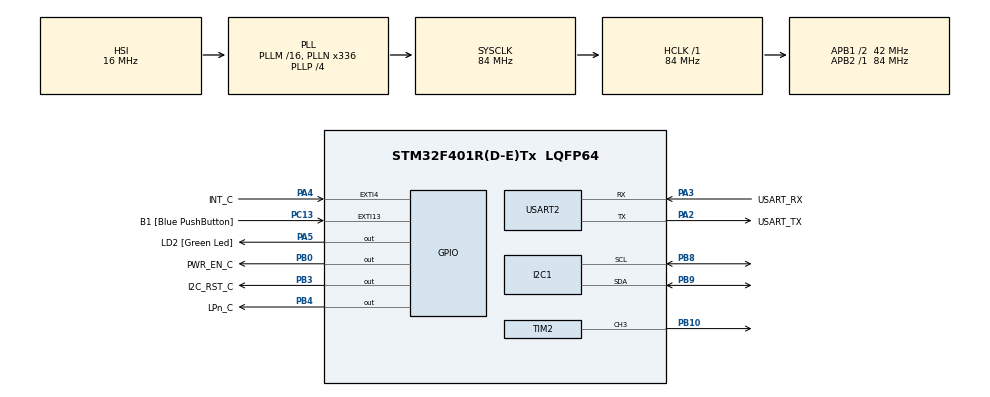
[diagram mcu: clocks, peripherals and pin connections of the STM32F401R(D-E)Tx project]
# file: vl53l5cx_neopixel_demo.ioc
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Dma.Request0=TIM2_CH3/UP
Dma.TIM2_CH3/UP.0.Direction=DMA_MEMORY_TO_PERIPH
Dma.TIM2_CH3/UP.0.FIFOMode=DMA_FIFOMODE_DISABLE
Dma.TIM2_CH3/UP.0.Instance=DMA1_Stream1
Dma.TIM2_CH3/UP.0.MemDataAlignment=DMA_MDATAALIGN_WORD
Dma.TIM2_CH3/UP.0.MemInc=DMA_MINC_ENABLE
Dma.TIM2_CH3/UP.0.Mode=DMA_NORMAL
Dma.TIM2_CH3/UP.0.PeriphDataAlignment=DMA_PDATAALIGN_WORD
Dma.TIM2_CH3/UP.0.PeriphInc=DMA_PINC_DISABLE
Dma.TIM2_CH3/UP.0.Priority=DMA_PRIORITY_VERY_HIGH
I2C1.I2C_Mode=I2C_Fast
Mcu.Family=STM32F4
Mcu.Name=STM32F401R(D-E)Tx
Mcu.Package=LQFP64
NVIC.DMA1_Stream1_IRQn=true\:0\:0\:false\:false\:true\:false\:true\:true
NVIC.EXTI4_IRQn=true\:0\:0\:false\:false\:true\:true\:true\:true
NVIC.PriorityGroup=NVIC_PRIORITYGROUP_0
PA13.GPIO_Label=TMS
PA13.Mode=Serial_Wire
PA13.Signal=SYS_JTMS-SWDIO
PA14.GPIO_Label=TCK
PA14.Mode=Serial_Wire
PA14.Signal=SYS_JTCK-SWCLK
PA2.GPIO_Label=USART_TX
PA2.GPIO_Mode=GPIO_MODE_AF_PP
PA2.GPIO_PuPd=GPIO_NOPULL
PA2.GPIO_Speed=GPIO_SPEED_FREQ_LOW
PA2.Mode=Asynchronous
PA2.Signal=USART2_TX
PA3.GPIO_Label=USART_RX
PA3.GPIO_Mode=GPIO_MODE_AF_PP
PA3.GPIO_PuPd=GPIO_NOPULL
PA3.GPIO_Speed=GPIO_SPEED_FREQ_LOW
PA3.Mode=Asynchronous
PA3.Signal=USART2_RX
PA4.GPIO_Label=INT_C
PA4.GPIO_ModeDefaultEXTI=GPIO_MODE_IT_FALLING
PA4.Signal=GPXTI4
PA5.GPIO_Label=LD2 [Green Led]
PA5.GPIO_Mode=GPIO_MODE_OUTPUT_PP
PA5.GPIO_PuPd=GPIO_NOPULL
PA5.GPIO_Speed=GPIO_SPEED_FREQ_LOW
PA5.Signal=GPIO_Output
PB0.GPIO_Label=PWR_EN_C
PB0.PinState=GPIO_PIN_SET
PB0.Signal=GPIO_Output
PB10.Signal=S_TIM2_CH3
PB3.GPIO_Label=I2C_RST_C
PB3.Signal=GPIO_Output
PB4.GPIO_Label=LPn_C
PB4.PinState=GPIO_PIN_SET
PB4.Signal=GPIO_Output
PB8.Mode=I2C
PB8.Signal=I2C1_SCL
PB9.Mode=I2C
PB9.Signal=I2C1_SDA
PC13-ANTI_TAMP.GPIO_Label=B1 [Blue PushButton]
PC13-ANTI_TAMP.GPIO_ModeDefaultEXTI=GPIO_MODE_IT_FALLING
PC13-ANTI_TAMP.GPIO_PuPd=GPIO_NOPULL
PC13-ANTI_TAMP.Signal=GPXTI13
PC14-OSC32_IN.Mode=LSE-External-Oscillator
PC14-OSC32_IN.Signal=RCC_OSC32_IN
PC15-OSC32_OUT.Mode=LSE-External-Oscillator
PC15-OSC32_OUT.Signal=RCC_OSC32_OUT
PH0\ -\ OSC_IN.Mode=HSE-External-Clock-Source
PH0\ -\ OSC_IN.Signal=RCC_OSC_IN
PH1\ -\ OSC_OUT.Mode=HSE-External-Clock-Source
PH1\ -\ OSC_OUT.Signal=RCC_OSC_OUT
ProjectManager.HeapSize=0x200
ProjectManager.StackSize=0x400
ProjectManager.TargetToolchain=STM32CubeIDE
RCC.48MHZClocksFreq_Value=48000000
RCC.AHBFreq_Value=84000000
RCC.APB1CLKDivider=RCC_HCLK_DIV2
RCC.APB1Freq_Value=42000000
RCC.APB1TimFreq_Value=84000000
RCC.APB2Freq_Value=84000000
RCC.APB2TimFreq_Value=84000000
RCC.CortexFreq_Value=84000000
RCC.HCLKFreq_Value=84000000
RCC.HSE_VALUE=8000000
RCC.HSI_VALUE=16000000
RCC.PLLN=336
RCC.PLLP=RCC_PLLP_DIV4
RCC.PLLQ=7
RCC.SYSCLKFreq_VALUE=84000000
RCC.SYSCLKSource=RCC_SYSCLKSOURCE_PLLCLK
RCC.VCOOutputFreq_Value=336000000
SH.S_TIM2_CH3.0=TIM2_CH3,PWM Generation3 CH3
TIM2.Channel-PWM\ Generation3\ CH3=TIM_CHANNEL_3
USART2.VirtualMode=VM_ASYNC
VP_TIM2_VS_ClockSourceINT.Mode=Internal
board=NUCLEO-F401RE

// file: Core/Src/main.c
/* USER CODE BEGIN Header */
/**
  ******************************************************************************
  * @file           : main.c
  * @brief          : Main program body
  ******************************************************************************
  * @attention
  *
  * Copyright (c) 2022 STMicroelectronics.
  * All rights reserved.
  *
  * This software is licensed under terms that can be found in the LICENSE file
  * in the root directory of this software component.
  * If no LICENSE file comes with this software, it is provided AS-IS.
  *
  ******************************************************************************
  */
/* USER CODE END Header */
#include "main.h"

/* USER CODE BEGIN Includes */

#include "vl53l5cx_api.h"

/* USER CODE END Includes */

/* USER CODE BEGIN PTD */

typedef union
{
  struct
  {
    uint8_t w;
    uint8_t b;
    uint8_t r;
    uint8_t g;
  } color;
  uint32_t data;
} PixelRGBW_t;

/* USER CODE END PTD */

/* USER CODE BEGIN PD */

#define NEOPIXEL_ZERO 25
#define NEOPIXEL_ONE  51

#define NUM_PIXELS    64
#define DMA_BUFF_SIZE (NUM_PIXELS * 32) + 1
/* USER CODE END PD */

 I2C_HandleTypeDef hi2c1;

TIM_HandleTypeDef htim2;
DMA_HandleTypeDef hdma_tim2_ch3_up;

UART_HandleTypeDef huart2;

/* USER CODE BEGIN PV */

volatile uint8_t vl53l5cx_int;

/* USER CODE END PV */

void SystemClock_Config(void);
static void MX_GPIO_Init(void);
static void MX_USART2_UART_Init(void);
static void MX_DMA_Init(void);
static void MX_I2C1_Init(void);
static void MX_TIM2_Init(void);
/* USER CODE BEGIN PFP */

#ifdef __GNUC__
#define PUTCHAR_PROTOTYPE int __io_putchar(int ch)
#else
#define PUTCHAR_PROTOTYPE int fputc(int ch, FILE *f)
#endif

PUTCHAR_PROTOTYPE
{
  HAL_UART_Transmit(&huart2, (uint8_t *)&ch, 1, 0xFFFF);
  return ch;
}

uint32_t dist2color(uint32_t dist, uint32_t maxDist, uint8_t power);

/* USER CODE END PFP */

/* USER CODE BEGIN 0 */

void HAL_TIM_PWM_PulseFinishedCallback(TIM_HandleTypeDef *htim)
{
  HAL_TIM_PWM_Stop_DMA(htim, TIM_CHANNEL_3);
}

void HAL_GPIO_EXTI_Callback(uint16_t GPIO_Pin)
{
  if (GPIO_Pin == INT_C_Pin)
  {
    vl53l5cx_int++;
  }
}

/* USER CODE END 0 */

int main(void)
{
  /* USER CODE BEGIN 1 */
  PixelRGBW_t pixelMatrix[8][8] = {0};
  uint32_t pixelVal;
  uint32_t dmaBuffer[DMA_BUFF_SIZE] = {0};
  uint32_t *pBuff;

  VL53L5CX_Configuration Dev;
  VL53L5CX_ResultsData  Results;
  uint8_t isAlive;
  int status;

  int i, j, k;

  /* USER CODE END 1 */

  /* MCU Configuration--------------------------------------------------------*/

  /* Reset of all peripherals, Initializes the Flash interface and the Systick. */
  HAL_Init();

  /* Configure the system clock */
  SystemClock_Config();

  /* Initialize all configured peripherals */
  MX_GPIO_Init();
  MX_USART2_UART_Init();
  MX_DMA_Init();
  MX_TIM2_Init();
  MX_I2C1_Init();
  /* USER CODE BEGIN 2 */

  Dev.platform.address = VL53L5CX_DEFAULT_I2C_ADDRESS;

  // Reset ToF Sensor (Section 4.2 in UM2884)
  HAL_GPIO_WritePin(I2C_RST_C_GPIO_Port, I2C_RST_C_Pin, GPIO_PIN_RESET);
  HAL_GPIO_WritePin(PWR_EN_C_GPIO_Port, PWR_EN_C_Pin, GPIO_PIN_RESET);
  HAL_GPIO_WritePin(LPn_C_GPIO_Port, LPn_C_Pin, GPIO_PIN_RESET);
  HAL_Delay(10);
  HAL_GPIO_WritePin(PWR_EN_C_GPIO_Port, PWR_EN_C_Pin, GPIO_PIN_SET);
  HAL_GPIO_WritePin(LPn_C_GPIO_Port, LPn_C_Pin, GPIO_PIN_SET);
  status = vl53l5cx_is_alive(&Dev, &isAlive);
  if(!isAlive)
  {
    printf("VL53L5CXV0 not detected at requested address (0x%x)\n", Dev.platform.address);
    return 255;
  }

  // Initialize and Configure ToF Sensor
  printf("Sensor initializing, please wait few seconds\n");
  status = vl53l5cx_init(&Dev);
  status = vl53l5cx_set_resolution(&Dev, VL53L5CX_RESOLUTION_8X8); // must be called before updating ranging frequency
  status = vl53l5cx_set_ranging_frequency_hz(&Dev, 15);        // Set 15Hz ranging frequency
  status = vl53l5cx_set_ranging_mode(&Dev, VL53L5CX_RANGING_MODE_CONTINUOUS);  // Set mode continuous

  printf("Ranging starts\n");
  status = vl53l5cx_start_ranging(&Dev);

  /* USER CODE END 2 */

  /* Infinite loop */
  /* USER CODE BEGIN WHILE */
  vl53l5cx_int = 0;
  while (1)
  {
    /* USER CODE END WHILE */

    /* USER CODE BEGIN 3 */
    if(vl53l5cx_int > 0)
    {
      vl53l5cx_int = 0;
      status = vl53l5cx_get_ranging_data(&Dev, &Results);

      for (i = 0; i < 8; i++)
      {
        for (j = 0; j < 8; j++)
        {
          if (Results.nb_target_detected[(i<<3)+j] > 0)
          {
            pixelMatrix[i][j].data = dist2color(Results.distance_mm[(i<<3)+j], 1000, 50);
          }
          else
          {
            pixelMatrix[i][j].data = 0;
          }
        }
      }

      pBuff = dmaBuffer;
      for (j = 7; j >= 0; j--)
      {
        for (i = 7; i >= 0; i--)
        {
          pixelVal = pixelMatrix[i][j].data;
          for (k = 31; k >= 0; k--)
          {
            if ((pixelVal >> k) & 0x01)
            {
              *pBuff = NEOPIXEL_ONE;
            }
            else
            {
              *pBuff = NEOPIXEL_ZERO;
            }
            pBuff++;
          }
        }
      }
      dmaBuffer[DMA_BUFF_SIZE - 1] = 0; // last element must be 0!

      HAL_TIM_PWM_Start_DMA(&htim2, TIM_CHANNEL_3, (uint32_t *)dmaBuffer, DMA_BUFF_SIZE);
    }
  }
  /* USER CODE END 3 */
}

void SystemClock_Config(void)
{
  RCC_OscInitTypeDef RCC_OscInitStruct = {0};
  RCC_ClkInitTypeDef RCC_ClkInitStruct = {0};

  /** Configure the main internal regulator output voltage
  */
  __HAL_RCC_PWR_CLK_ENABLE();
  __HAL_PWR_VOLTAGESCALING_CONFIG(PWR_REGULATOR_VOLTAGE_SCALE2);

  /** Initializes the RCC Oscillators according to the specified parameters
  * in the RCC_OscInitTypeDef structure.
  */
  RCC_OscInitStruct.OscillatorType = RCC_OSCILLATORTYPE_HSI;
  RCC_OscInitStruct.HSIState = RCC_HSI_ON;
  RCC_OscInitStruct.HSICalibrationValue = RCC_HSICALIBRATION_DEFAULT;
  RCC_OscInitStruct.PLL.PLLState = RCC_PLL_ON;
  RCC_OscInitStruct.PLL.PLLSource = RCC_PLLSOURCE_HSI;
  RCC_OscInitStruct.PLL.PLLM = 16;
  RCC_OscInitStruct.PLL.PLLN = 336;
  RCC_OscInitStruct.PLL.PLLP = RCC_PLLP_DIV4;
  RCC_OscInitStruct.PLL.PLLQ = 7;
  if (HAL_RCC_OscConfig(&RCC_OscInitStruct) != HAL_OK)
  {
    Error_Handler();
  }

  /** Initializes the CPU, AHB and APB buses clocks
  */
  RCC_ClkInitStruct.ClockType = RCC_CLOCKTYPE_HCLK|RCC_CLOCKTYPE_SYSCLK
                              |RCC_CLOCKTYPE_PCLK1|RCC_CLOCKTYPE_PCLK2;
  RCC_ClkInitStruct.SYSCLKSource = RCC_SYSCLKSOURCE_PLLCLK;
  RCC_ClkInitStruct.AHBCLKDivider = RCC_SYSCLK_DIV1;
  RCC_ClkInitStruct.APB1CLKDivider = RCC_HCLK_DIV2;
  RCC_ClkInitStruct.APB2CLKDivider = RCC_HCLK_DIV1;

  if (HAL_RCC_ClockConfig(&RCC_ClkInitStruct, FLASH_LATENCY_2) != HAL_OK)
  {
    Error_Handler();
  }
}

static void MX_I2C1_Init(void)
{

  hi2c1.Instance = I2C1;
  hi2c1.Init.ClockSpeed = 400000;
  hi2c1.Init.DutyCycle = I2C_DUTYCYCLE_2;
  hi2c1.Init.OwnAddress1 = 0;
  hi2c1.Init.AddressingMode = I2C_ADDRESSINGMODE_7BIT;
  hi2c1.Init.DualAddressMode = I2C_DUALADDRESS_DISABLE;
  hi2c1.Init.OwnAddress2 = 0;
  hi2c1.Init.GeneralCallMode = I2C_GENERALCALL_DISABLE;
  hi2c1.Init.NoStretchMode = I2C_NOSTRETCH_DISABLE;
  if (HAL_I2C_Init(&hi2c1) != HAL_OK)
  {
    Error_Handler();
  }

}

static void MX_TIM2_Init(void)
{

  TIM_ClockConfigTypeDef sClockSourceConfig = {0};
  TIM_MasterConfigTypeDef sMasterConfig = {0};
  TIM_OC_InitTypeDef sConfigOC = {0};

  htim2.Instance = TIM2;
  htim2.Init.Prescaler = 0;
  htim2.Init.CounterMode = TIM_COUNTERMODE_UP;
  htim2.Init.Period = 100;
  htim2.Init.ClockDivision = TIM_CLOCKDIVISION_DIV1;
  htim2.Init.AutoReloadPreload = TIM_AUTORELOAD_PRELOAD_DISABLE;
  if (HAL_TIM_Base_Init(&htim2) != HAL_OK)
  {
    Error_Handler();
  }
  sClockSourceConfig.ClockSource = TIM_CLOCKSOURCE_INTERNAL;
  if (HAL_TIM_ConfigClockSource(&htim2, &sClockSourceConfig) != HAL_OK)
  {
    Error_Handler();
  }
  if (HAL_TIM_PWM_Init(&htim2) != HAL_OK)
  {
    Error_Handler();
  }
  sMasterConfig.MasterOutputTrigger = TIM_TRGO_RESET;
  sMasterConfig.MasterSlaveMode = TIM_MASTERSLAVEMODE_DISABLE;
  if (HAL_TIMEx_MasterConfigSynchronization(&htim2, &sMasterConfig) != HAL_OK)
  {
    Error_Handler();
  }
  sConfigOC.OCMode = TIM_OCMODE_PWM1;
  sConfigOC.Pulse = 0;
  sConfigOC.OCPolarity = TIM_OCPOLARITY_HIGH;
  sConfigOC.OCFastMode = TIM_OCFAST_DISABLE;
  if (HAL_TIM_PWM_ConfigChannel(&htim2, &sConfigOC, TIM_CHANNEL_3) != HAL_OK)
  {
    Error_Handler();
  }
  HAL_TIM_MspPostInit(&htim2);

}

static void MX_USART2_UART_Init(void)
{

  huart2.Instance = USART2;
  huart2.Init.BaudRate = 115200;
  huart2.Init.WordLength = UART_WORDLENGTH_8B;
  huart2.Init.StopBits = UART_STOPBITS_1;
  huart2.Init.Parity = UART_PARITY_NONE;
  huart2.Init.Mode = UART_MODE_TX_RX;
  huart2.Init.HwFlowCtl = UART_HWCONTROL_NONE;
  huart2.Init.OverSampling = UART_OVERSAMPLING_16;
  if (HAL_UART_Init(&huart2) != HAL_OK)
  {
    Error_Handler();
  }

}

static void MX_DMA_Init(void)
{

  /* DMA controller clock enable */
  __HAL_RCC_DMA1_CLK_ENABLE();

  /* DMA interrupt init */
  /* DMA1_Stream1_IRQn interrupt configuration */
  HAL_NVIC_SetPriority(DMA1_Stream1_IRQn, 0, 0);
  HAL_NVIC_EnableIRQ(DMA1_Stream1_IRQn);

}

static void MX_GPIO_Init(void)
{
  GPIO_InitTypeDef GPIO_InitStruct = {0};

  /* GPIO Ports Clock Enable */
  __HAL_RCC_GPIOC_CLK_ENABLE();
  __HAL_RCC_GPIOH_CLK_ENABLE();
  __HAL_RCC_GPIOA_CLK_ENABLE();
  __HAL_RCC_GPIOB_CLK_ENABLE();

  /*Configure GPIO pin Output Level */
  HAL_GPIO_WritePin(LD2_GPIO_Port, LD2_Pin, GPIO_PIN_RESET);

  /*Configure GPIO pin Output Level */
  HAL_GPIO_WritePin(GPIOB, PWR_EN_C_Pin|LPn_C_Pin, GPIO_PIN_SET);

  /*Configure GPIO pin Output Level */
  HAL_GPIO_WritePin(I2C_RST_C_GPIO_Port, I2C_RST_C_Pin, GPIO_PIN_RESET);

  /*Configure GPIO pin : B1_Pin */
  GPIO_InitStruct.Pin = B1_Pin;
  GPIO_InitStruct.Mode = GPIO_MODE_IT_FALLING;
  GPIO_InitStruct.Pull = GPIO_NOPULL;
  HAL_GPIO_Init(B1_GPIO_Port, &GPIO_InitStruct);

  /*Configure GPIO pin : INT_C_Pin */
  GPIO_InitStruct.Pin = INT_C_Pin;
  GPIO_InitStruct.Mode = GPIO_MODE_IT_RISING;
  GPIO_InitStruct.Pull = GPIO_NOPULL;
  HAL_GPIO_Init(INT_C_GPIO_Port, &GPIO_InitStruct);

  /*Configure GPIO pin : LD2_Pin */
  GPIO_InitStruct.Pin = LD2_Pin;
  GPIO_InitStruct.Mode = GPIO_MODE_OUTPUT_PP;
  GPIO_InitStruct.Pull = GPIO_NOPULL;
  GPIO_InitStruct.Speed = GPIO_SPEED_FREQ_LOW;
  HAL_GPIO_Init(LD2_GPIO_Port, &GPIO_InitStruct);

  /*Configure GPIO pins : PWR_EN_C_Pin I2C_RST_C_Pin LPn_C_Pin */
  GPIO_InitStruct.Pin = PWR_EN_C_Pin|I2C_RST_C_Pin|LPn_C_Pin;
  GPIO_InitStruct.Mode = GPIO_MODE_OUTPUT_PP;
  GPIO_InitStruct.Pull = GPIO_NOPULL;
  GPIO_InitStruct.Speed = GPIO_SPEED_FREQ_LOW;
  HAL_GPIO_Init(GPIOB, &GPIO_InitStruct);

  /* EXTI interrupt init*/
  HAL_NVIC_SetPriority(EXTI4_IRQn, 0, 0);
  HAL_NVIC_EnableIRQ(EXTI4_IRQn);

}

/* USER CODE BEGIN 4 */

/**
  * @brief Convert distance value (mm) to color value (RGB)
  * @param dist Distance in mm
  * @param maxDist Maximum distance to consider (larger distances are clipped)
  * @param power Maximum power per pixel (0-100)
  * @retval pixelVal 4-byte (RGBW) NeoPixel data value
  */
uint32_t dist2color(uint32_t dist, uint32_t maxDist, uint8_t power)
{
  uint8_t r, g, b;
  uint32_t scale;

  dist = (dist >= 2 ? dist - 2 : dist);
  dist = (dist > maxDist ? maxDist : dist);

  dist <<= 8; // U(24,8)
  maxDist <<= 8; // U(24,8)
  scale = maxDist / 638; // 638 = end of color spectrum
  dist = (dist + (scale >> 2)) / scale; // round

  if (dist < 256)
  {
    r = 255 - dist;
    g = dist;
    b = 0;
  }
  else if (dist < 511)
  {
    r = 0;
    g = 510 - dist;
    b = dist - 255;
  }
  else if (dist < 766)
  {
    r = dist - 510;
    g = 0;
    b = 765 - dist;
  }
  else
  {
    r = 0;
    g = 0;
    b = 0;
  }

  power = (power > 100 ? 100 : power);
  scale = (100 << 8) / power;
  r = (r << 8) / scale;
  g = (g << 8) / scale;
  b = (b << 8) / scale;

  return ((g << 24) & 0xFF000000) | ((r << 16) & 0x00FF0000) | ((b << 8) & 0x0000FF00);
}

/* USER CODE END 4 */

void Error_Handler(void)
{
  __disable_irq();
  while (1)
  {
  }
}
